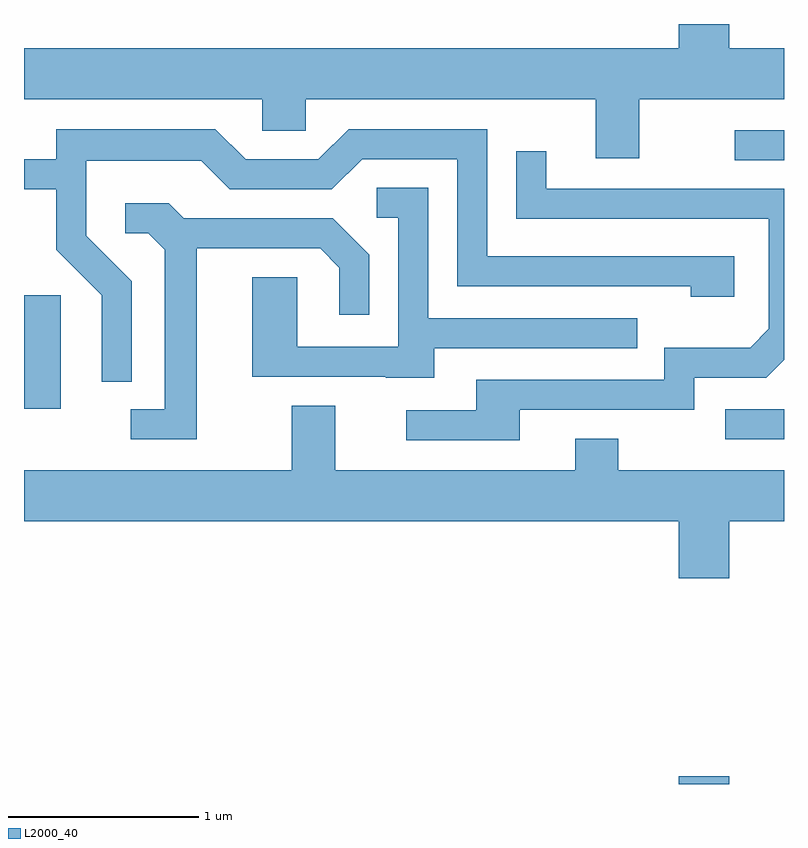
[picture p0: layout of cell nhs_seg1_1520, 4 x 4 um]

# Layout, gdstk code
import gdstk
lib = gdstk.Library(unit=1e-6, precision=1e-09)
def R(c, l, rs):  # rectangles x0, y0, x1, y1
    for r in rs: c.add(gdstk.rectangle(r[:2], r[2:], *l))
def P(c, l, *ps):  # polygons
    for p in ps: c.add(gdstk.Polygon(p, *l))
L2000_40 = (2000, 40)

nhs_seg1_1520 = lib.new_cell('nhs_seg1_1520')
R(nhs_seg1_1520, L2000_40, [(235.056,933.712,235.324,933.754), (235.303,935.526,235.611,935.684), (231.611,935.686,231.804,936.284), (235.353,936.996,235.611,937.154)])
P(nhs_seg1_1520, L2000_40, [(234.849,937.316),(235.611,937.316),(235.611,937.584),(235.324,937.584),(235.324,937.712),(235.056,937.712),(235.056,937.584),(231.611,937.584),(231.611,937.316),(232.866,937.316),(232.866,937.151),(233.094,937.151),(233.094,937.316),(234.621,937.316),(234.621,937.006),(234.849,937.006)],
  [(232.179,936.357),(231.939,936.597),(231.939,936.991),(232.544,936.991),(232.694,936.841),(233.232,936.841),(233.392,937.001),(233.891,937.001),(233.891,936.331),(235.121,936.331),(235.121,936.276),(235.349,936.276),(235.349,936.489),(234.049,936.489),(234.049,937.159),(233.319,937.159),(233.159,936.999),(232.777,936.999),(232.617,937.159),(231.781,937.159),(231.781,936.999),(231.611,936.999),(231.611,936.841),(231.781,936.841),(231.781,936.524),(232.021,936.284),(232.021,935.828),(232.179,935.828)],
  [(234.219,935.681),(235.139,935.681),(235.139,935.851),(235.517,935.851),(235.611,935.946),(235.611,936.844),(234.359,936.844),(234.359,937.043),(234.201,937.043),(234.201,936.686),(235.531,936.686),(235.531,936.107),(235.434,936.009),(234.981,936.009),(234.981,935.839),(233.991,935.839),(233.991,935.679),(233.623,935.679),(233.623,935.521),(234.219,935.521)],
  [(233.769,936.006),(234.838,936.006),(234.838,936.164),(233.739,936.164),(233.739,936.849),(233.468,936.849),(233.468,936.691),(233.581,936.691),(233.581,936.014),(233.049,936.014),(233.049,936.379),(232.811,936.379),(232.811,935.856),(233.515,935.856),(233.515,935.851),(233.769,935.851)],
  [(232.519,936.531),(233.169,936.531),(233.271,936.429),(233.271,936.183),(233.429,936.183),(233.429,936.497),(233.237,936.689),(232.452,936.689),(232.372,936.769),(232.143,936.769),(232.143,936.611),(232.264,936.611),(232.351,936.524),(232.351,935.684),(232.173,935.684),(232.173,935.526),(232.519,935.526)],
  [(235.324,935.096),(235.611,935.096),(235.611,935.364),(234.739,935.364),(234.739,935.529),(234.511,935.529),(234.511,935.364),(233.249,935.364),(233.249,935.704),(233.021,935.704),(233.021,935.364),(231.611,935.364),(231.611,935.096),(235.056,935.096),(235.056,934.796),(235.324,934.796)])

lib.write_gds('nhs_seg1_1520.gds')
